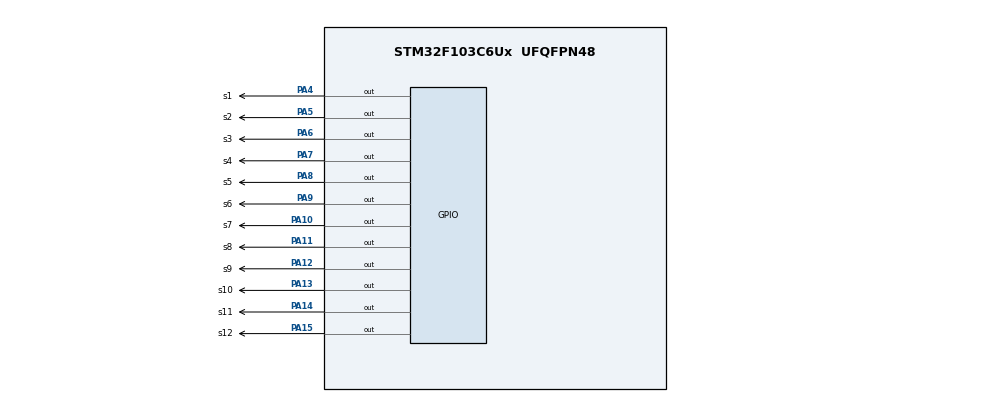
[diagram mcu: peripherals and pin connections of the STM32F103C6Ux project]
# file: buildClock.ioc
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Mcu.Family=STM32F1
Mcu.Name=STM32F103C6Ux
Mcu.Package=UFQFPN48
NVIC.PriorityGroup=NVIC_PRIORITYGROUP_4
PA10.GPIO_Label=s7
PA10.Signal=GPIO_Output
PA11.GPIO_Label=s8
PA11.Signal=GPIO_Output
PA12.GPIO_Label=s9
PA12.Signal=GPIO_Output
PA13.GPIO_Label=s10
PA13.Signal=GPIO_Output
PA14.GPIO_Label=s11
PA14.Signal=GPIO_Output
PA15.GPIO_Label=s12
PA15.Signal=GPIO_Output
PA4.GPIO_Label=s1
PA4.Signal=GPIO_Output
PA5.GPIO_Label=s2
PA5.Signal=GPIO_Output
PA6.GPIO_Label=s3
PA6.Signal=GPIO_Output
PA7.GPIO_Label=s4
PA7.Signal=GPIO_Output
PA8.GPIO_Label=s5
PA8.Signal=GPIO_Output
PA9.GPIO_Label=s6
PA9.Signal=GPIO_Output
ProjectManager.HeapSize=0x200
ProjectManager.StackSize=0x400
ProjectManager.TargetToolchain=STM32CubeIDE
RCC.APB1Freq_Value=8000000
RCC.APB2Freq_Value=8000000
VP_SYS_VS_ND.Mode=No_Debug
board=custom

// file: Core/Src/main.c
/* USER CODE BEGIN Header */
/**
  ******************************************************************************
  * @file           : main.c
  * @brief          : Main program body
  ******************************************************************************
  * @attention
  *
  * <h2><center>&copy; Copyright (c) 2022 STMicroelectronics.
  * All rights reserved.</center></h2>
  *
  * This software component is licensed by ST under BSD 3-Clause license,
  * the "License"; You may not use this file except in compliance with the
  * License. You may obtain a copy of the License at:
  *                        opensource.org/licenses/BSD-3-Clause
  *
  ******************************************************************************
  */
/* USER CODE END Header */
#include "main.h"

void SystemClock_Config(void);
static void MX_GPIO_Init(void);

/* USER CODE BEGIN 0 */
void clearAllClock();
/* USER CODE END 0 */

int main(void)
{

  /* MCU Configuration--------------------------------------------------------*/

  /* Reset of all peripherals, Initializes the Flash interface and the Systick. */
  HAL_Init();

  /* Configure the system clock */
  SystemClock_Config();

  /* Initialize all configured peripherals */
  MX_GPIO_Init();

  /* Infinite loop */
  /* USER CODE BEGIN WHILE */
  int second = 0;
    int minute = 59;
    int hour = 5;
  while (1)
  {
    /* USER CODE END WHILE */

    /* USER CODE BEGIN 3 */
	  clearAllClock();
	  second++;
	  	  if (second >= 60) {
	  		  second = 0;
	  		  minute++;
	  		  if (minute >= 60) {
	  			  minute = 0;
	  			  hour++;
	  			  if (hour >= 12) hour = 0;
	  		  }
	  	  }
	  	  clock(hour);
	  	  clock(minute/5);
	  	  clock(second/5);
	  	  HAL_Delay(1000);
  }
  /* USER CODE END 3 */
}

void SystemClock_Config(void)
{
  RCC_OscInitTypeDef RCC_OscInitStruct = {0};
  RCC_ClkInitTypeDef RCC_ClkInitStruct = {0};

  /** Initializes the RCC Oscillators according to the specified parameters
  * in the RCC_OscInitTypeDef structure.
  */
  RCC_OscInitStruct.OscillatorType = RCC_OSCILLATORTYPE_HSI;
  RCC_OscInitStruct.HSIState = RCC_HSI_ON;
  RCC_OscInitStruct.HSICalibrationValue = RCC_HSICALIBRATION_DEFAULT;
  RCC_OscInitStruct.PLL.PLLState = RCC_PLL_NONE;
  if (HAL_RCC_OscConfig(&RCC_OscInitStruct) != HAL_OK)
  {
    Error_Handler();
  }
  /** Initializes the CPU, AHB and APB buses clocks
  */
  RCC_ClkInitStruct.ClockType = RCC_CLOCKTYPE_HCLK|RCC_CLOCKTYPE_SYSCLK
                              |RCC_CLOCKTYPE_PCLK1|RCC_CLOCKTYPE_PCLK2;
  RCC_ClkInitStruct.SYSCLKSource = RCC_SYSCLKSOURCE_HSI;
  RCC_ClkInitStruct.AHBCLKDivider = RCC_SYSCLK_DIV1;
  RCC_ClkInitStruct.APB1CLKDivider = RCC_HCLK_DIV1;
  RCC_ClkInitStruct.APB2CLKDivider = RCC_HCLK_DIV1;

  if (HAL_RCC_ClockConfig(&RCC_ClkInitStruct, FLASH_LATENCY_0) != HAL_OK)
  {
    Error_Handler();
  }
}

static void MX_GPIO_Init(void)
{
  GPIO_InitTypeDef GPIO_InitStruct = {0};

  /* GPIO Ports Clock Enable */
  __HAL_RCC_GPIOA_CLK_ENABLE();

  /*Configure GPIO pin Output Level */
  HAL_GPIO_WritePin(GPIOA, s1_Pin|s2_Pin|s3_Pin|s4_Pin
                          |s5_Pin|s6_Pin|s7_Pin|s8_Pin
                          |s9_Pin|s10_Pin|s11_Pin|s12_Pin, GPIO_PIN_RESET);

  /*Configure GPIO pins : s1_Pin s2_Pin s3_Pin s4_Pin
                           s5_Pin s6_Pin s7_Pin s8_Pin
                           s9_Pin s10_Pin s11_Pin s12_Pin */
  GPIO_InitStruct.Pin = s1_Pin|s2_Pin|s3_Pin|s4_Pin
                          |s5_Pin|s6_Pin|s7_Pin|s8_Pin
                          |s9_Pin|s10_Pin|s11_Pin|s12_Pin;
  GPIO_InitStruct.Mode = GPIO_MODE_OUTPUT_PP;
  GPIO_InitStruct.Pull = GPIO_NOPULL;
  GPIO_InitStruct.Speed = GPIO_SPEED_FREQ_LOW;
  HAL_GPIO_Init(GPIOA, &GPIO_InitStruct);

}

/* USER CODE BEGIN 4 */
void clearAllClock(){
			  HAL_GPIO_WritePin(s1_GPIO_Port, s1_Pin, SET);
		  	  HAL_GPIO_WritePin(s2_GPIO_Port, s2_Pin, SET);
		  	  HAL_GPIO_WritePin(s3_GPIO_Port, s3_Pin, SET);
		  	  HAL_GPIO_WritePin(s4_GPIO_Port, s4_Pin, SET);
		  	  HAL_GPIO_WritePin(s5_GPIO_Port, s5_Pin, SET);
		  	  HAL_GPIO_WritePin(s6_GPIO_Port, s6_Pin, SET);
		  	  HAL_GPIO_WritePin(s7_GPIO_Port, s7_Pin, SET);
		  	  HAL_GPIO_WritePin(s8_GPIO_Port, s8_Pin, SET);
		  	  HAL_GPIO_WritePin(s9_GPIO_Port, s9_Pin, SET);
		  	  HAL_GPIO_WritePin(s10_GPIO_Port, s10_Pin, SET);
		  	  HAL_GPIO_WritePin(s11_GPIO_Port, s11_Pin, SET);
		  	  HAL_GPIO_WritePin(s12_GPIO_Port, s12_Pin, SET);
}
void clock(int num){
	switch (num) {
	case 0:
			HAL_GPIO_WritePin(s2_GPIO_Port, s2_Pin, RESET);
			break;
	case 12:
		HAL_GPIO_WritePin(s2_GPIO_Port, s2_Pin, RESET);
		break;
	case 1:
			HAL_GPIO_WritePin(s3_GPIO_Port, s3_Pin, RESET);
			break;
	case 2:
			HAL_GPIO_WritePin(s4_GPIO_Port, s4_Pin, RESET);
			break;
	case 3:
			HAL_GPIO_WritePin(s5_GPIO_Port, s5_Pin, RESET);
			break;
	case 4:
			HAL_GPIO_WritePin(s6_GPIO_Port, s6_Pin, RESET);
			break;
	case 5:
			HAL_GPIO_WritePin(s7_GPIO_Port, s7_Pin, RESET);
			break;
	case 6:
			HAL_GPIO_WritePin(s8_GPIO_Port, s8_Pin, RESET);
			break;
	case 7:
			HAL_GPIO_WritePin(s9_GPIO_Port, s9_Pin, RESET);
			break;
	case 8:
			HAL_GPIO_WritePin(s10_GPIO_Port, s10_Pin, RESET);
			break;
	case 9:
			HAL_GPIO_WritePin(s11_GPIO_Port, s11_Pin, RESET);
			break;
	case 10:
			HAL_GPIO_WritePin(s12_GPIO_Port, s12_Pin, RESET);
			break;
	case 11:
			HAL_GPIO_WritePin(s1_GPIO_Port, s1_Pin, RESET);
			break;
	}
}
/* USER CODE END 4 */

void Error_Handler(void)
{
  __disable_irq();
  while (1)
  {
  }
}

/************************ (C) COPYRIGHT STMicroelectronics *****END OF FILE****/
